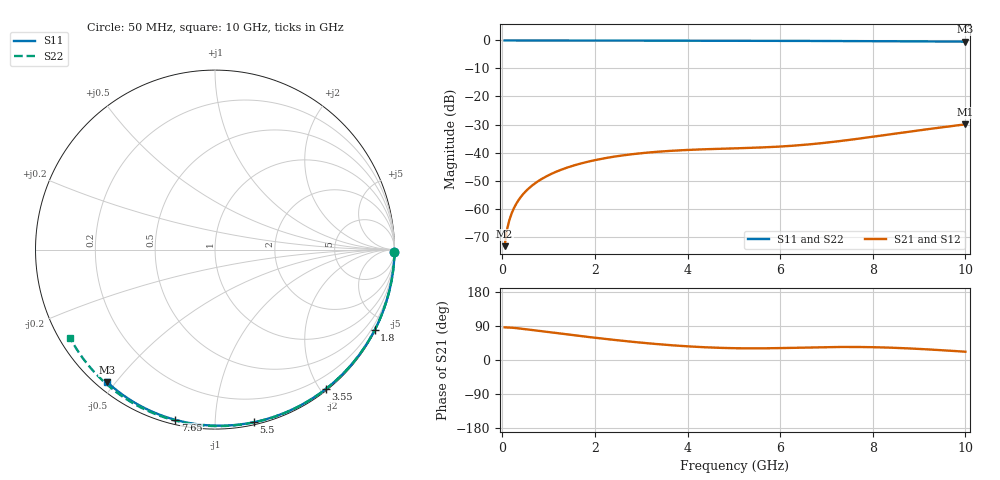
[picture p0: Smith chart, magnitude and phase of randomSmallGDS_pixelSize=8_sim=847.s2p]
! freq	dB(S11)	phase(S11)	dB(S12)	phase(S12)
!  dB(S21)	phase(S21)	dB(S22)	phase(S22)
!S-par simulation data
#  GHz  S  DB  R 50
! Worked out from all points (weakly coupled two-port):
!   200 points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, 50 MHz to 10 GHz, reference 50 ohm
!   highest |S21| = -29.94 dB at 10 GHz (marker M1); lowest = -73.4 dB at 50 MHz (marker M2)
!   lowest |S11| = -0.4 dB at 10 GHz (marker M3), VSWR 40.66, Z = 1.51 - j23.8 ohm
!   |S11| at or under -10 dB: nowhere
!   |S22| runs from -0.5 to 0.0 dB; largest |S21 - S12| = 0
!   S11 on the Smith chart (normalised r, x): 50 MHz: open; 1.8 GHz: 0.04, -4.20; 3.55 GHz: 0.02, -2.07; 5.5 GHz: 0.02, -1.25; 7.65 GHz: 0.02, -0.79; 10 GHz: 0.03, -0.48
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0.05  -0.00 -0.8  -73.43 86.2  -73.43 86.2  -0.00 -0.9
0.1  -0.00 -1.5  -67.69 85.9  -67.69 85.9  -0.00 -1.8
0.15  -0.00 -2.3  -64.27 85.7  -64.27 85.7  -0.00 -2.6
0.2  -0.00 -3.0  -61.81 85.3  -61.81 85.3  -0.00 -3.5
0.25  -0.00 -3.8  -59.90 84.8  -59.90 84.8  -0.00 -4.4
0.35  -0.00 -5.3  -57.01 83.5  -57.01 83.5  -0.00 -6.2
0.5  -0.01 -7.5  -53.95 81.3  -53.95 81.3  -0.01 -8.8
0.7  -0.01 -10.5  -51.08 78.3  -51.08 78.3  -0.01 -12.3
1  -0.02 -15.0  -48.10 73.7  -48.10 73.7  -0.02 -17.5
1.35  -0.03 -20.2  -45.67 68.3  -45.67 68.3  -0.03 -23.5
1.75  -0.03 -26.1  -43.68 62.3  -43.68 62.3  -0.04 -30.3
1.8  -0.03 -26.8  -43.48 61.6  -43.48 61.6  -0.04 -31.2
2.55  -0.05 -37.6  -41.14 51.3  -41.14 51.3  -0.06 -43.7
3.4  -0.07 -49.5  -39.67 41.4  -39.67 41.4  -0.08 -57.4
3.55  -0.07 -51.6  -39.49 39.9  -39.49 39.9  -0.08 -59.8
4.3  -0.09 -61.7  -38.88 34.0  -38.88 34.0  -0.10 -71.4
5.05  -0.11 -71.6  -38.50 31.1  -38.50 31.1  -0.13 -82.6
5.5  -0.12 -77.3  -38.25 30.7  -38.25 30.7  -0.14 -89.1
6.7  -0.18 -92.0  -36.98 33.3  -36.98 33.3  -0.20 -105.8
7.65  -0.23 -103.1  -35.16 34.4  -35.16 34.4  -0.27 -118.4
8.35  -0.28 -111.0  -33.57 32.7  -33.57 32.7  -0.32 -127.5
10  -0.43 -129.1  -29.94 21.8  -29.94 21.8  -0.49 -148.7
